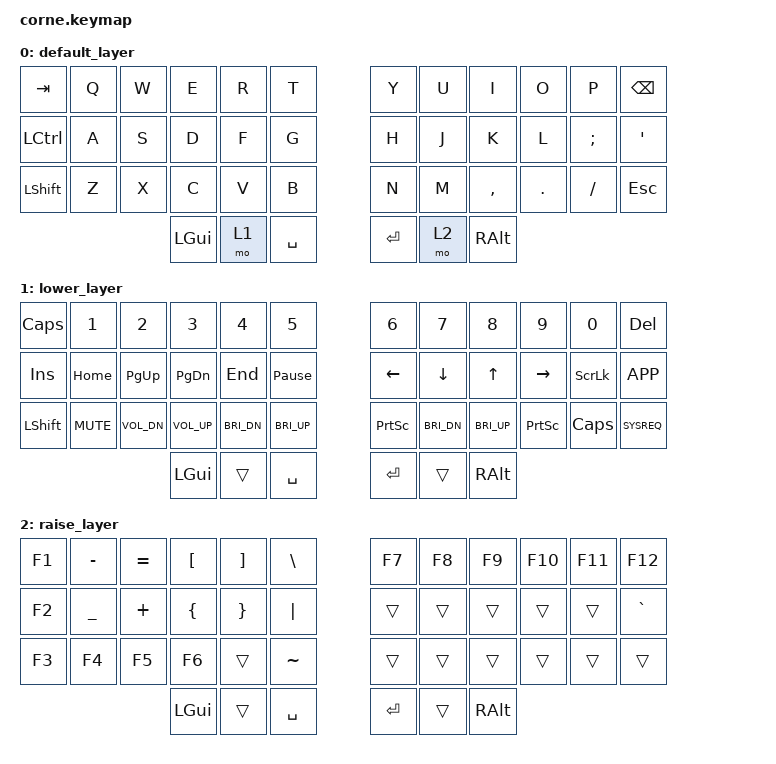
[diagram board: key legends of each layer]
/*
 * Copyright (c) 2020 The ZMK Contributors
 *
 * SPDX-License-Identifier: MIT
 */

#include <behaviors.dtsi>
#include <dt-bindings/zmk/keys.h>
#include <dt-bindings/zmk/bt.h>

/ {
        keymap {
                compatible = "zmk,keymap";

                default_layer {
// -----------------------------------------------------------------------------------------
// |  TAB |  Q  |  W  |  E  |  R  |  T  |   |  Y  |  U   |  I  |  O  |  P  | BSPC |
// | CTRL |  A  |  S  |  D  |  F  |  G  |   |  H  |  J   |  K  |  L  |  ;  |  '   |
// | SHFT |  Z  |  X  |  C  |  V  |  B  |   |  N  |  M   |  ,  |  .  |  /  | ESC  |
//                    | GUI | LWR | SPC |   | ENT | RSE  | ALT |
                        bindings = <
   &kp TAB   &kp Q &kp W &kp E &kp R &kp T   &kp Y &kp U  &kp I     &kp O   &kp P    &kp BSPC
   &kp LCTRL &kp A &kp S &kp D &kp F &kp G   &kp H &kp J  &kp K     &kp L   &kp SEMI &kp SQT
   &kp LSHFT &kp Z &kp X &kp C &kp V &kp B   &kp N &kp M  &kp COMMA &kp DOT &kp FSLH &kp ESC
                  &kp LGUI &mo 1 &kp SPACE   &kp RET &mo 2 &kp RALT
                        >;
                };

                lower_layer {
// -----------------------------------------------------------------------------------------
// | CAPSLOCK   |  1  |  2  |  3  |  4  |  5  |   |  6  |  7  |  8  |  9  |  0  | DEL   |
// | INS        | HOME| PGUP| PGDN| END | PAUSE|   | LFT | DWN |  UP | RGT | SLCK| APP   |
// | SHFT       | MUTE| VOL-| VOL+| BRI-| BRI+|   | PSCRN| BRID| BRIU| PRNT| CLCK| SYSRQ |
//                    | GUI |     | SPC |   | ENT |     | ALT |
                        bindings = <
   &kp CAPSLOCK &kp N1 &kp N2 &kp N3 &kp N4 &kp N5          &kp N6 &kp N7 &kp N8 &kp N9 &kp N0 &kp DEL
   &kp INS      &kp HOME &kp PG_UP &kp PG_DN &kp END &kp PAUSE_BREAK   &kp LEFT &kp DOWN &kp UP &kp RIGHT &kp SLCK &kp K_APP
   &kp LSHFT    &kp C_MUTE &kp C_VOL_DN &kp C_VOL_UP &kp C_BRI_DN &kp C_BRI_UP   &kp PSCRN &kp C_BRI_DN &kp C_BRI_UP &kp PRINTSCREEN &kp CLCK &kp SYSREQ
                             &kp LGUI &trans &kp SPACE   &kp RET &trans &kp RALT
                        >;
                };

                raise_layer {
// -----------------------------------------------------------------------------------------
// | F1  | MINUS|  =  |  [  |  ]  |  \  |   | F7  | F8  | F9  | F10 | F11 | F12  |
// | F2  | UNDER|  +  |  {  |  }  |  |  |   |     |     |     |     |     |  `   |
// | F3  | F4   | F5  | F6  |     |  ~  |   |     |     |     |     |     |      |
//                    | GUI |     | SPC |   | ENT |     | ALT |
                        bindings = <
   &kp F1 &kp MINUS &kp EQUAL &kp LBKT &kp RBKT &kp BSLH   &kp F7 &kp F8 &kp F9 &kp F10 &kp F11 &kp F12
   &kp F2 &kp UNDER &kp PLUS  &kp LBRC &kp RBRC &kp PIPE   &trans &trans &trans &trans &trans &kp GRAVE
   &kp F3 &kp F4    &kp F5    &kp F6   &trans   &kp TILDE  &trans &trans &trans &trans &trans &trans
                             &kp LGUI &trans &kp SPACE   &kp RET &trans &kp RALT
                        >;
                };
        };
};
